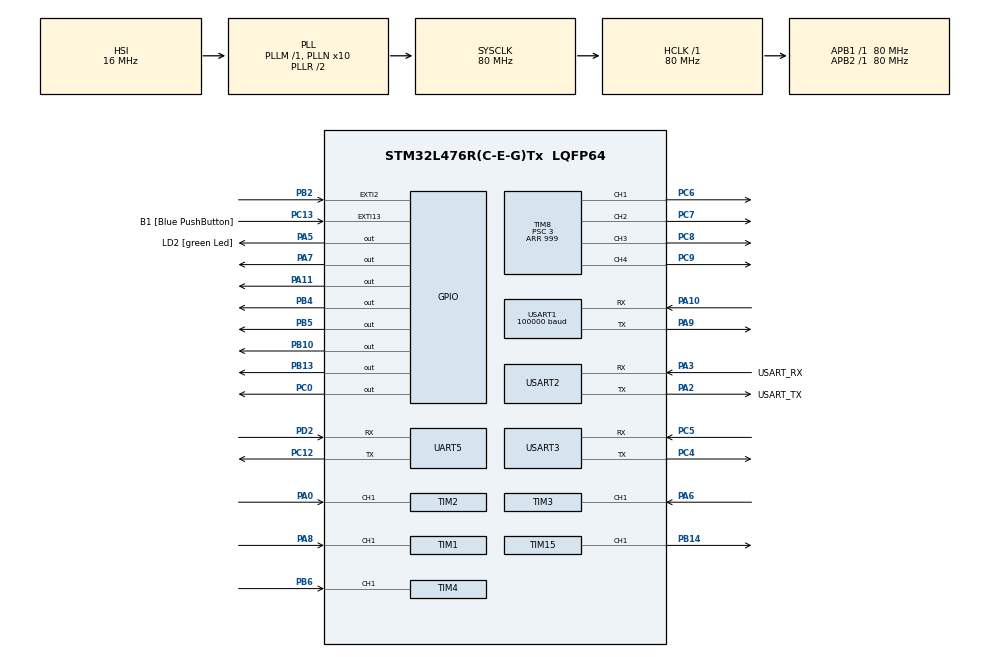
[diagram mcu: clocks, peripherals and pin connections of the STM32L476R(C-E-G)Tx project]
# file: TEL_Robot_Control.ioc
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Mcu.Family=STM32L4
Mcu.Name=STM32L476R(C-E-G)Tx
Mcu.Package=LQFP64
NVIC.EXTI15_10_IRQn=true\:0\:0\:false\:false\:true\:true\:true\:true
NVIC.EXTI2_IRQn=true\:0\:0\:false\:false\:true\:true\:true\:true
NVIC.PriorityGroup=NVIC_PRIORITYGROUP_4
NVIC.TIM1_BRK_TIM15_IRQn=true\:0\:0\:false\:false\:true\:true\:true\:true
NVIC.TIM1_CC_IRQn=true\:0\:0\:false\:false\:true\:true\:true\:true
NVIC.TIM1_TRG_COM_TIM17_IRQn=true\:0\:0\:false\:false\:true\:true\:true\:true
NVIC.TIM1_UP_TIM16_IRQn=true\:0\:0\:false\:false\:true\:true\:true\:true
NVIC.TIM2_IRQn=true\:0\:0\:false\:false\:true\:true\:true\:true
NVIC.TIM3_IRQn=true\:0\:0\:false\:false\:true\:true\:true\:true
NVIC.TIM4_IRQn=true\:0\:0\:false\:false\:true\:true\:true\:true
NVIC.TIM8_BRK_IRQn=true\:0\:0\:false\:false\:true\:true\:true\:true
NVIC.TIM8_CC_IRQn=true\:0\:0\:false\:false\:true\:true\:true\:true
NVIC.TIM8_TRG_COM_IRQn=true\:0\:0\:false\:false\:true\:true\:true\:true
NVIC.TIM8_UP_IRQn=true\:0\:0\:false\:false\:true\:true\:true\:true
NVIC.UART5_IRQn=true\:0\:0\:false\:false\:true\:true\:true\:true
NVIC.USART1_IRQn=true\:0\:0\:false\:false\:true\:true\:true\:true
NVIC.USART2_IRQn=true\:0\:0\:false\:false\:true\:true\:true\:true
NVIC.USART3_IRQn=true\:0\:0\:false\:false\:true\:true\:true\:true
PA0.Signal=S_TIM2_CH1
PA10.Mode=Asynchronous
PA10.Signal=USART1_RX
PA11.Signal=GPIO_Output
PA13\ (JTMS-SWDIO).GPIO_Label=TMS
PA13\ (JTMS-SWDIO).Mode=Serial_Wire
PA13\ (JTMS-SWDIO).Signal=SYS_JTMS-SWDIO
PA14\ (JTCK-SWCLK).GPIO_Label=TCK
PA14\ (JTCK-SWCLK).Mode=Serial_Wire
PA14\ (JTCK-SWCLK).Signal=SYS_JTCK-SWCLK
PA2.GPIO_Label=USART_TX
PA2.GPIO_Mode=GPIO_MODE_AF_PP
PA2.GPIO_PuPd=GPIO_NOPULL
PA2.GPIO_Speed=GPIO_SPEED_FREQ_VERY_HIGH
PA2.Mode=Asynchronous
PA2.Signal=USART2_TX
PA3.GPIO_Label=USART_RX
PA3.GPIO_Mode=GPIO_MODE_AF_PP
PA3.GPIO_PuPd=GPIO_NOPULL
PA3.GPIO_Speed=GPIO_SPEED_FREQ_VERY_HIGH
PA3.Mode=Asynchronous
PA3.Signal=USART2_RX
PA5.GPIO_Label=LD2 [green Led]
PA5.GPIO_ModeDefaultOutputPP=GPIO_MODE_OUTPUT_PP
PA5.GPIO_PuPd=GPIO_NOPULL
PA5.GPIO_Speed=GPIO_SPEED_FREQ_LOW
PA5.Signal=GPIO_Output
PA6.Signal=S_TIM3_CH1
PA7.Signal=GPIO_Output
PA8.Signal=S_TIM1_CH1
PA9.Mode=Asynchronous
PA9.Signal=USART1_TX
PB10.Signal=GPIO_Output
PB13.Signal=GPIO_Output
PB14.Signal=S_TIM15_CH1
PB2.GPIO_ModeDefaultEXTI=GPIO_MODE_IT_FALLING
PB2.GPIO_PuPd=GPIO_PULLUP
PB2.Signal=GPXTI2
PB3\ (JTDO-TRACESWO).GPIO_Label=SWO
PB3\ (JTDO-TRACESWO).Signal=SYS_JTDO-SWO
PB4\ (NJTRST).Signal=GPIO_Output
PB5.Signal=GPIO_Output
PB6.Signal=S_TIM4_CH1
PC0.Signal=GPIO_Output
PC12.Mode=Asynchronous
PC12.Signal=UART5_TX
PC13.GPIO_Label=B1 [Blue PushButton]
PC13.GPIO_ModeDefaultEXTI=GPIO_MODE_IT_FALLING
PC13.GPIO_PuPd=GPIO_NOPULL
PC13.Signal=GPXTI13
PC14-OSC32_IN\ (PC14).Mode=LSE-External-Oscillator
PC14-OSC32_IN\ (PC14).Signal=RCC_OSC32_IN
PC15-OSC32_OUT\ (PC15).Mode=LSE-External-Oscillator
PC15-OSC32_OUT\ (PC15).Signal=RCC_OSC32_OUT
PC4.Mode=Asynchronous
PC4.Signal=USART3_TX
PC5.Mode=Asynchronous
PC5.Signal=USART3_RX
PC6.Signal=S_TIM8_CH1
PC7.Signal=S_TIM8_CH2
PC8.Signal=S_TIM8_CH3
PC9.Signal=S_TIM8_CH4
PD2.Mode=Asynchronous
PD2.Signal=UART5_RX
PH0-OSC_IN\ (PH0).Mode=HSE-External-Oscillator
PH0-OSC_IN\ (PH0).Signal=RCC_OSC_IN
PH1-OSC_OUT\ (PH1).Mode=HSE-External-Oscillator
PH1-OSC_OUT\ (PH1).Signal=RCC_OSC_OUT
ProjectManager.HeapSize=0x200
ProjectManager.StackSize=0x400
ProjectManager.TargetToolchain=STM32CubeIDE
RCC.ADCFreq_Value=64000000
RCC.AHBFreq_Value=80000000
RCC.APB1Freq_Value=80000000
RCC.APB1TimFreq_Value=80000000
RCC.APB2Freq_Value=80000000
RCC.APB2TimFreq_Value=80000000
RCC.CortexFreq_Value=80000000
RCC.HCLKFreq_Value=80000000
RCC.HSE_VALUE=8000000
RCC.HSI_VALUE=16000000
RCC.MSI_VALUE=4000000
RCC.PLLN=10
RCC.PLLSourceVirtual=RCC_PLLSOURCE_HSI
RCC.PREFETCH_ENABLE=1
RCC.SYSCLKFreq_VALUE=80000000
RCC.SYSCLKSource=RCC_SYSCLKSOURCE_PLLCLK
RCC.USBFreq_Value=64000000
RCC.VCOOutputFreq_Value=160000000
SH.S_TIM15_CH1.0=TIM15_CH1,PWM Generation1 CH1
SH.S_TIM1_CH1.0=TIM1_CH1,PWM_Input_1
SH.S_TIM2_CH1.0=TIM2_CH1,PWM_Input_1
SH.S_TIM3_CH1.0=TIM3_CH1,PWM_Input_1
SH.S_TIM4_CH1.0=TIM4_CH1,PWM_Input_1
SH.S_TIM8_CH1.0=TIM8_CH1,PWM Generation1 CH1
SH.S_TIM8_CH2.0=TIM8_CH2,PWM Generation2 CH2
SH.S_TIM8_CH3.0=TIM8_CH3,PWM Generation3 CH3
SH.S_TIM8_CH4.0=TIM8_CH4,PWM Generation4 CH4
TIM1.Prescaler=79
TIM15.Channel-PWM\ Generation1\ CH1=TIM_CHANNEL_1
TIM15.Period=999
TIM15.Prescaler=79
TIM2.Period=65535
TIM2.Prescaler=79
TIM3.Prescaler=79
TIM4.Prescaler=79
TIM8.Channel-PWM\ Generation1\ CH1=TIM_CHANNEL_1
TIM8.Channel-PWM\ Generation2\ CH2=TIM_CHANNEL_2
TIM8.Channel-PWM\ Generation3\ CH3=TIM_CHANNEL_3
TIM8.Channel-PWM\ Generation4\ CH4=TIM_CHANNEL_4
TIM8.Period=999
TIM8.Prescaler=3
USART1.BaudRate=100000
USART1.Mode=MODE_RX
USART1.Parity=PARITY_EVEN
USART1.RxPinLevelInvertParam=ADVFEATURE_RXINV_DISABLE
USART1.StopBits=STOPBITS_2
USART1.VirtualMode-Asynchronous=VM_ASYNC
USART1.WordLength=WORDLENGTH_9B
USART2.VirtualMode-Asynchronous=VM_ASYNC
USART3.VirtualMode-Asynchronous=VM_ASYNC
VP_TIM15_VS_ClockSourceINT.Mode=Internal
VP_TIM1_VS_ClockSourceINT.Mode=Internal
VP_TIM2_VS_ClockSourceINT.Mode=Internal
VP_TIM3_VS_ClockSourceINT.Mode=Internal
VP_TIM4_VS_ClockSourceINT.Mode=Internal
VP_TIM8_VS_ClockSourceINT.Mode=Internal
board=NUCLEO-L476RG

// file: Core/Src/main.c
/* USER CODE BEGIN Header */
/**
  ******************************************************************************
  * @file           : main.c
  * @brief          : Main program body
  ******************************************************************************
  * @attention
  *
  * <h2><center>&copy; Copyright (c) 2021 STMicroelectronics.
  * All rights reserved.</center></h2>
  *
  * This software component is licensed by ST under BSD 3-Clause license,
  * the "License"; You may not use this file except in compliance with the
  * License. You may obtain a copy of the License at:
  *                        opensource.org/licenses/BSD-3-Clause
  *
  ******************************************************************************
  */
/* USER CODE END Header */
#include "main.h"

/* USER CODE BEGIN Includes */
#include <stdio.h>
#include <stdlib.h>
#include <inttypes.h>
/* USER CODE END Includes */

/* USER CODE BEGIN PD */
// Motor
#define USER_TIM_ICPSC_DIV TIM_ICPSC_DIV4
#define SQUARE_WAVE_DISTANCE 0.115
#define OverallFrequencyRef 250
#define OverallPWMDutyRef 350

#define Motor1DirGrp GPIOB
#define Motor1DirPin GPIO_PIN_4
#define Motor2DirGrp GPIOB
#define Motor2DirPin GPIO_PIN_10
#define Motor3DirGrp GPIOA
#define Motor3DirPin GPIO_PIN_7
#define Motor4DirGrp GPIOB
#define Motor4DirPin GPIO_PIN_5

// Servo
#define GRAB_OPEN 20
#define GRAB_CLOSE 60
#define CARRIAGE_OPEN 135
#define CARRIAGE_CLOSE 0
#define FUNNEL_OPEN -135
#define FUNNEL_CLOSE 0
#define DOOR_OPEN 120
#define DOOR_CLOSE 0
#define UART3_BufferSize 7

// Stepper
#define SQUARE_WAVES_IN_1MM 40

// Communication
#define BufferSize 6
#define UART1_BufferSize 25
#define buf_ UART1_rxBuffer
#define UART1_ChannelSize 16
/* USER CODE END PD */

TIM_HandleTypeDef htim1;
TIM_HandleTypeDef htim2;
TIM_HandleTypeDef htim3;
TIM_HandleTypeDef htim4;
TIM_HandleTypeDef htim8;
TIM_HandleTypeDef htim15;

UART_HandleTypeDef huart5;
UART_HandleTypeDef huart1;
UART_HandleTypeDef huart2;
UART_HandleTypeDef huart3;

/* USER CODE BEGIN PV */
// Motor
//int32_t motorState[4] = {-1, 1, -1, 1};
int PWM[4] = {0, 0, 0, 0};
// Stepper
int stepperCount = 0;
int stepperThreshold = (1 << 20);
int stepperDir = 0;
int currentStepperPosition = 0; // 0 - 6000 (0 - 5553, 74 - 1925)
// Servo
uint8_t UART3_rxBuffer[UART3_BufferSize] = {0};
int pingDone = 0;
int oldArm = 0;
int oldGrab = 0;
int oldCarriage = 0;
// Communication
uint8_t UART2_rxBuffer[BufferSize] = {0};
char commandFlag = 0;
int commandDone = 0;
int motorDone[4] = {0};
int failFlag = 0;
// SBUS
uint8_t UART1_rxBuffer[UART1_BufferSize] = {0};
uint8_t UART1_tmpBuffer[1] = {0};
int16_t ch_[UART1_ChannelSize] = {0};
uint8_t CH17_MASK_ = 0x01;
uint8_t CH18_MASK_ = 0x02;
uint8_t LOST_FRAME_MASK_ = 0x04;
uint8_t FAILSAFE_MASK_ = 0x08;
uint8_t ch17_ = 0;
uint8_t ch18_ = 0;
uint8_t lost_frame_ = 0;
uint8_t failsafe_ = 0;
/* USER CODE END PV */

void SystemClock_Config(void);
static void MX_GPIO_Init(void);
static void MX_USART2_UART_Init(void);
static void MX_TIM1_Init(void);
static void MX_TIM2_Init(void);
static void MX_TIM3_Init(void);
static void MX_TIM4_Init(void);
static void MX_TIM8_Init(void);
static void MX_TIM15_Init(void);
static void MX_USART1_UART_Init(void);
static void MX_USART3_UART_Init(void);
static void MX_UART5_Init(void);

/* USER CODE BEGIN 0 */
// Motor
void MotorStop(){
	PWM[0] = 0;
	PWM[1] = 0;
	PWM[2] = 0;
	PWM[3] = 0;
	__HAL_TIM_SetCompare(&htim8, TIM_CHANNEL_1, abs(PWM[0]));
	__HAL_TIM_SetCompare(&htim8, TIM_CHANNEL_2, abs(PWM[1]));
	__HAL_TIM_SetCompare(&htim8, TIM_CHANNEL_3, abs(PWM[2]));
	__HAL_TIM_SetCompare(&htim8, TIM_CHANNEL_4, abs(PWM[3]));
}

// Servo
void setAngle(uint8_t id, int16_t angle){
	uint8_t data[12] = {0x12, 0x4c, 0x08, 0x07, id, 0x00, 0x00, 0x20, 0x03, 0x00, 0x00, 0x00};
	angle = angle * 10;
	data[5] = (uint8_t)((angle << 8) >> 8);
	data[6] = (uint8_t)(angle >> 8);
	int16_t checksum = 0;
	for(int i = 0; i < 11; ++i)
		checksum += data[i];
	data[11] = (uint8_t)((checksum << 8) >> 8);
	HAL_UART_Transmit(&huart3, data, sizeof(data), HAL_MAX_DELAY);
//	pingDone = 0;
//	HAL_UART_Receive_IT(&huart3, UART3_rxBuffer, UART3_BufferSize);
}

// Communication
int _write (int fd, char *ptr, int len)
{
	HAL_UART_Transmit(&huart2, (uint8_t*) ptr, len, 0xFFFF);
	HAL_UART_Transmit(&huart5, (uint8_t*) ptr, len, 0xFFFF);
	return len;
}

//int _read (int fd, char *ptr, int len)
//{
//	*ptr = 0x00; // Flush the character buffer
//	HAL_UART_Receive(&huart2, (uint8_t*) ptr, 1, 0xFFFF);
//	return 1;
//}

void SBUS_Data(){
//	for(int i = 0; i < 25; ++i){
//		printf("%02X ", buf_[i]);
//	}
//	printf("\r\n");
	// main part
	if (buf_[0] != 0x0f) return;
    ch_[ 0] = (((int16_t)buf_[ 1] >> 0) | ((int16_t)buf_[ 2] << 8)) & 0x07FF;
    ch_[ 1] = (((int16_t)buf_[ 2] >> 3) | ((int16_t)buf_[ 3] << 5)) & 0x07FF;
    ch_[ 2] = (((int16_t)buf_[ 3] >> 6) | ((int16_t)buf_[ 4] << 2)  | ((int16_t)buf_[ 5] << 10)) & 0x07FF;
    ch_[ 3] = (((int16_t)buf_[ 5] >> 1) | ((int16_t)buf_[ 6] << 7)) & 0x07FF;
    ch_[ 4] = (((int16_t)buf_[ 6] >> 4) | ((int16_t)buf_[ 7] << 4)) & 0x07FF;
    ch_[ 5] = (((int16_t)buf_[ 7] >> 7) | ((int16_t)buf_[ 8] << 1)  | ((int16_t)buf_[ 9] <<  9)) & 0x07FF;
    ch_[ 6] = (((int16_t)buf_[ 9] >> 2) | ((int16_t)buf_[10] << 6)) & 0x07FF;
    ch_[ 7] = (((int16_t)buf_[10] >> 5) | ((int16_t)buf_[11] << 3)) & 0x07FF;
    ch_[ 8] = (((int16_t)buf_[12] >> 0) | ((int16_t)buf_[13] << 8)) & 0x07FF;
    ch_[ 9] = (((int16_t)buf_[13] >> 3) | ((int16_t)buf_[14] << 5)) & 0x07FF;
//    ch_[10] = (((int16_t)buf_[14] >> 6) | ((int16_t)buf_[15] << 2)  | ((int16_t)buf_[16] << 10)) & 0x07FF;
//    ch_[11] = (((int16_t)buf_[16] >> 1) | ((int16_t)buf_[17] << 7)) & 0x07FF;
//    ch_[12] = (((int16_t)buf_[17] >> 4) | ((int16_t)buf_[18] << 4)) & 0x07FF;
//    ch_[13] = (((int16_t)buf_[18] >> 7) | ((int16_t)buf_[19] << 1)  | ((int16_t)buf_[20] <<  9)) & 0x07FF;
//    ch_[14] = (((int16_t)buf_[20] >> 2) | ((int16_t)buf_[21] << 6)) & 0x07FF;
//    ch_[15] = (((int16_t)buf_[21] >> 5) | ((int16_t)buf_[22] << 3)) & 0x07FF;
//	ch17_ = buf_[23] & CH17_MASK_;
//	ch18_ = buf_[23] & CH18_MASK_;
	lost_frame_ = buf_[23] & LOST_FRAME_MASK_;
	failsafe_ = buf_[23] & FAILSAFE_MASK_;

	// right+, top+
	ch_[0] = (ch_[0] - 999) / 2;
	ch_[1] = (995 - ch_[1]) / 2;
	ch_[2] = (ch_[2] - 1000) / 2 + ch_[1]; // boost
	ch_[3] = (ch_[3] - 994) / 2;
	// ch_[4]
	ch_[5] = (1925 - ch_[5]) / 13;
	// ch_[6]
	// ch_[7]

//	for(int i = 0; i < 10; ++i){
//		printf("%d ", ch_[i]);
//	}
//	printf("\r\n");
}

void setMotor(){
	// front-back:  1,-1, 1,-1
	// left-right: -1,-1, 1, 1
	// lr-rotate:   1, 1, 1, 1
	PWM[0] = ch_[4] > 800 ? 0 :  ch_[2] - ch_[3] + ch_[0];
	PWM[1] = ch_[4] > 800 ? 0 : -ch_[2] - ch_[3] + ch_[0];
	PWM[2] = ch_[4] > 800 ? 0 :  ch_[2] + ch_[3] + ch_[0];
	PWM[3] = ch_[4] > 800 ? 0 : -ch_[2] + ch_[3] + ch_[0];
	HAL_GPIO_WritePin(Motor1DirGrp, Motor1DirPin, PWM[0] > 0 ? GPIO_PIN_SET : GPIO_PIN_RESET);
	HAL_GPIO_WritePin(Motor2DirGrp, Motor2DirPin, PWM[1] > 0 ? GPIO_PIN_SET : GPIO_PIN_RESET);
	HAL_GPIO_WritePin(Motor3DirGrp, Motor3DirPin, PWM[2] > 0 ? GPIO_PIN_SET : GPIO_PIN_RESET);
	HAL_GPIO_WritePin(Motor4DirGrp, Motor4DirPin, PWM[3] > 0 ? GPIO_PIN_SET : GPIO_PIN_RESET);
	__HAL_TIM_SetCompare(&htim8, TIM_CHANNEL_1, abs(PWM[0]));
	__HAL_TIM_SetCompare(&htim8, TIM_CHANNEL_2, abs(PWM[1]));
	__HAL_TIM_SetCompare(&htim8, TIM_CHANNEL_3, abs(PWM[2]));
	__HAL_TIM_SetCompare(&htim8, TIM_CHANNEL_4, abs(PWM[3]));

	// servo
	if (!oldCarriage && ch_[8] > 1000){
		setAngle(2, 135);
		oldCarriage = 1;
	}
	else if(oldCarriage && ch_[8] < 1000){
		setAngle(2, 0);
		oldCarriage = 0;
	}

	if (!oldArm && ch_[9] < 1000){
		setAngle(4, 35);
		HAL_Delay(1000);
		setAngle(5, 30);
		HAL_Delay(1000);
		oldArm = 1;
	}
	else if (oldArm && ch_[9] > 1000){
		setAngle(4, -90);
		HAL_Delay(1000);
		setAngle(5, 75);
		HAL_Delay(1000);
		oldArm = 0;
	}

	if (oldGrab && ch_[7] > 1000){
		setAngle(1, 0);
		oldGrab = 0;
	}
	else if(!oldGrab && ch_[7] < 1000){
		setAngle(1, 70);
		oldGrab = 1;
	}

//	if (!oldArm && ch_[9] < 1000){
//		setAngle(4, 30);
//		HAL_Delay(1000);
//		setAngle(1, 0);
//		HAL_Delay(1000);
//		setAngle(5, 0);
//		oldArm = 1;
//	}
//	else if (oldArm && ch_[9] > 1000){
//		setAngle(1, 70);
//		HAL_Delay(1000);
//		setAngle(4, -90);
//		HAL_Delay(1000);
//		setAngle(5, 75);
//		HAL_Delay(1000);
//		setAngle(1, 0);
//		oldArm = 0;
//	}

	// stepper
//	stepperThreshold = (ch_[5] - 74) * 3;
//	HAL_GPIO_WritePin(GPIOB, GPIO_PIN_13, stepperThreshold > currentStepperPosition ? GPIO_PIN_SET : GPIO_PIN_RESET);
//	stepperDir = stepperThreshold > currentStepperPosition ? 1 : -1;
//	if(abs(stepperThreshold - currentStepperPosition) > 5){
//		TIM15->CCR1 = 500;
//	}
//	else{
//		TIM15->CCR1 = 0;
//	}
}

void HAL_UART_RxCpltCallback(UART_HandleTypeDef *huart)
{
	if (huart->Instance == huart1.Instance){
		if (UART1_rxBuffer[0] != 0x0f){
			HAL_UART_Receive(&huart1, UART1_tmpBuffer, 1, 100);
		}
		HAL_UART_Receive_IT(&huart1, UART1_rxBuffer, UART1_BufferSize);
	}
	else if (huart->Instance == huart3.Instance){
		// 0x05 0x1C cmd n id success checksum
//		pingDone = 1;
	}
}

/* USER CODE END 0 */

int main(void)
{

  /* MCU Configuration--------------------------------------------------------*/

  /* Reset of all peripherals, Initializes the Flash interface and the Systick. */
  HAL_Init();

  /* Configure the system clock */
  SystemClock_Config();

  /* Initialize all configured peripherals */
  MX_GPIO_Init();
  MX_USART2_UART_Init();
  MX_TIM1_Init();
  MX_TIM2_Init();
  MX_TIM3_Init();
  MX_TIM4_Init();
  MX_TIM8_Init();
  MX_TIM15_Init();
  MX_USART1_UART_Init();
  MX_USART3_UART_Init();
  MX_UART5_Init();
  /* USER CODE BEGIN 2 */
  // Motor
  HAL_TIM_PWM_Start(&htim8,TIM_CHANNEL_1);
  HAL_TIM_PWM_Start(&htim8,TIM_CHANNEL_2);
  HAL_TIM_PWM_Start(&htim8,TIM_CHANNEL_3);
  HAL_TIM_PWM_Start(&htim8,TIM_CHANNEL_4);
  MotorStop();

  // Servo
//  servoPing();

  // Stepper
  HAL_TIM_PWM_Start(&htim15,TIM_CHANNEL_1);
  HAL_TIM_Base_Start_IT(&htim15);
  __HAL_TIM_SetCompare(&htim15, TIM_CHANNEL_1, 0);
  HAL_GPIO_WritePin(GPIOC, GPIO_PIN_0, GPIO_PIN_RESET);
  HAL_GPIO_WritePin(GPIOB, GPIO_PIN_13, GPIO_PIN_RESET);
//  if (HAL_GPIO_ReadPin(GPIOB, GPIO_PIN_2)){
//	  TIM15->CCR1 = 500;
//  }
//  else{
//	  HAL_GPIO_WritePin(LD2_GPIO_Port, LD2_Pin, GPIO_PIN_SET);
//  }
  HAL_GPIO_WritePin(LD2_GPIO_Port, LD2_Pin, GPIO_PIN_SET);
  HAL_GPIO_WritePin(GPIOA, GPIO_PIN_11, GPIO_PIN_SET);
  HAL_GPIO_WritePin(GPIOC, GPIO_PIN_3, GPIO_PIN_RESET);
  // Communication
  HAL_UART_Receive_IT(&huart1, UART1_rxBuffer, UART1_BufferSize);
  /* USER CODE END 2 */

  /* Infinite loop */
  while (1)
  {

    /* USER CODE BEGIN 3 */
	SBUS_Data();
	setMotor();
  }
  /* USER CODE END 3 */
}

void SystemClock_Config(void)
{
  RCC_OscInitTypeDef RCC_OscInitStruct = {0};
  RCC_ClkInitTypeDef RCC_ClkInitStruct = {0};

  /** Configure the main internal regulator output voltage
  */
  if (HAL_PWREx_ControlVoltageScaling(PWR_REGULATOR_VOLTAGE_SCALE1) != HAL_OK)
  {
    Error_Handler();
  }
  /** Initializes the RCC Oscillators according to the specified parameters
  * in the RCC_OscInitTypeDef structure.
  */
  RCC_OscInitStruct.OscillatorType = RCC_OSCILLATORTYPE_HSI;
  RCC_OscInitStruct.HSIState = RCC_HSI_ON;
  RCC_OscInitStruct.HSICalibrationValue = RCC_HSICALIBRATION_DEFAULT;
  RCC_OscInitStruct.PLL.PLLState = RCC_PLL_ON;
  RCC_OscInitStruct.PLL.PLLSource = RCC_PLLSOURCE_HSI;
  RCC_OscInitStruct.PLL.PLLM = 1;
  RCC_OscInitStruct.PLL.PLLN = 10;
  RCC_OscInitStruct.PLL.PLLP = RCC_PLLP_DIV7;
  RCC_OscInitStruct.PLL.PLLQ = RCC_PLLQ_DIV2;
  RCC_OscInitStruct.PLL.PLLR = RCC_PLLR_DIV2;
  if (HAL_RCC_OscConfig(&RCC_OscInitStruct) != HAL_OK)
  {
    Error_Handler();
  }
  /** Initializes the CPU, AHB and APB buses clocks
  */
  RCC_ClkInitStruct.ClockType = RCC_CLOCKTYPE_HCLK|RCC_CLOCKTYPE_SYSCLK
                              |RCC_CLOCKTYPE_PCLK1|RCC_CLOCKTYPE_PCLK2;
  RCC_ClkInitStruct.SYSCLKSource = RCC_SYSCLKSOURCE_PLLCLK;
  RCC_ClkInitStruct.AHBCLKDivider = RCC_SYSCLK_DIV1;
  RCC_ClkInitStruct.APB1CLKDivider = RCC_HCLK_DIV1;
  RCC_ClkInitStruct.APB2CLKDivider = RCC_HCLK_DIV1;

  if (HAL_RCC_ClockConfig(&RCC_ClkInitStruct, FLASH_LATENCY_4) != HAL_OK)
  {
    Error_Handler();
  }
}

static void MX_TIM1_Init(void)
{

  TIM_ClockConfigTypeDef sClockSourceConfig = {0};
  TIM_SlaveConfigTypeDef sSlaveConfig = {0};
  TIM_IC_InitTypeDef sConfigIC = {0};
  TIM_MasterConfigTypeDef sMasterConfig = {0};

  htim1.Instance = TIM1;
  htim1.Init.Prescaler = 79;
  htim1.Init.CounterMode = TIM_COUNTERMODE_UP;
  htim1.Init.Period = 65535;
  htim1.Init.ClockDivision = TIM_CLOCKDIVISION_DIV1;
  htim1.Init.RepetitionCounter = 0;
  htim1.Init.AutoReloadPreload = TIM_AUTORELOAD_PRELOAD_DISABLE;
  if (HAL_TIM_Base_Init(&htim1) != HAL_OK)
  {
    Error_Handler();
  }
  sClockSourceConfig.ClockSource = TIM_CLOCKSOURCE_INTERNAL;
  if (HAL_TIM_ConfigClockSource(&htim1, &sClockSourceConfig) != HAL_OK)
  {
    Error_Handler();
  }
  if (HAL_TIM_IC_Init(&htim1) != HAL_OK)
  {
    Error_Handler();
  }
  sSlaveConfig.SlaveMode = TIM_SLAVEMODE_RESET;
  sSlaveConfig.InputTrigger = TIM_TS_TI1FP1;
  sSlaveConfig.TriggerPolarity = TIM_INPUTCHANNELPOLARITY_RISING;
  sSlaveConfig.TriggerPrescaler = TIM_ICPSC_DIV1;
  sSlaveConfig.TriggerFilter = 0;
  if (HAL_TIM_SlaveConfigSynchro(&htim1, &sSlaveConfig) != HAL_OK)
  {
    Error_Handler();
  }
  sConfigIC.ICPolarity = TIM_INPUTCHANNELPOLARITY_RISING;
  sConfigIC.ICSelection = TIM_ICSELECTION_DIRECTTI;
  sConfigIC.ICPrescaler = TIM_ICPSC_DIV1;
  sConfigIC.ICFilter = 0;
  if (HAL_TIM_IC_ConfigChannel(&htim1, &sConfigIC, TIM_CHANNEL_1) != HAL_OK)
  {
    Error_Handler();
  }
  sConfigIC.ICPolarity = TIM_INPUTCHANNELPOLARITY_FALLING;
  sConfigIC.ICSelection = TIM_ICSELECTION_INDIRECTTI;
  if (HAL_TIM_IC_ConfigChannel(&htim1, &sConfigIC, TIM_CHANNEL_2) != HAL_OK)
  {
    Error_Handler();
  }
  sMasterConfig.MasterOutputTrigger = TIM_TRGO_RESET;
  sMasterConfig.MasterOutputTrigger2 = TIM_TRGO2_RESET;
  sMasterConfig.MasterSlaveMode = TIM_MASTERSLAVEMODE_DISABLE;
  if (HAL_TIMEx_MasterConfigSynchronization(&htim1, &sMasterConfig) != HAL_OK)
  {
    Error_Handler();
  }
  /* USER CODE BEGIN TIM1_Init 2 */
  sConfigIC.ICPrescaler = USER_TIM_ICPSC_DIV;
  /* USER CODE END TIM1_Init 2 */

}

static void MX_TIM2_Init(void)
{

  TIM_ClockConfigTypeDef sClockSourceConfig = {0};
  TIM_SlaveConfigTypeDef sSlaveConfig = {0};
  TIM_IC_InitTypeDef sConfigIC = {0};
  TIM_MasterConfigTypeDef sMasterConfig = {0};

  htim2.Instance = TIM2;
  htim2.Init.Prescaler = 79;
  htim2.Init.CounterMode = TIM_COUNTERMODE_UP;
  htim2.Init.Period = 65535;
  htim2.Init.ClockDivision = TIM_CLOCKDIVISION_DIV1;
  htim2.Init.AutoReloadPreload = TIM_AUTORELOAD_PRELOAD_DISABLE;
  if (HAL_TIM_Base_Init(&htim2) != HAL_OK)
  {
    Error_Handler();
  }
  sClockSourceConfig.ClockSource = TIM_CLOCKSOURCE_INTERNAL;
  if (HAL_TIM_ConfigClockSource(&htim2, &sClockSourceConfig) != HAL_OK)
  {
    Error_Handler();
  }
  if (HAL_TIM_IC_Init(&htim2) != HAL_OK)
  {
    Error_Handler();
  }
  sSlaveConfig.SlaveMode = TIM_SLAVEMODE_RESET;
  sSlaveConfig.InputTrigger = TIM_TS_TI1FP1;
  sSlaveConfig.TriggerPolarity = TIM_INPUTCHANNELPOLARITY_RISING;
  sSlaveConfig.TriggerPrescaler = TIM_ICPSC_DIV1;
  sSlaveConfig.TriggerFilter = 0;
  if (HAL_TIM_SlaveConfigSynchro(&htim2, &sSlaveConfig) != HAL_OK)
  {
    Error_Handler();
  }
  sConfigIC.ICPolarity = TIM_INPUTCHANNELPOLARITY_RISING;
  sConfigIC.ICSelection = TIM_ICSELECTION_DIRECTTI;
  sConfigIC.ICPrescaler = TIM_ICPSC_DIV1;
  sConfigIC.ICFilter = 0;
  if (HAL_TIM_IC_ConfigChannel(&htim2, &sConfigIC, TIM_CHANNEL_1) != HAL_OK)
  {
    Error_Handler();
  }
  sConfigIC.ICPolarity = TIM_INPUTCHANNELPOLARITY_FALLING;
  sConfigIC.ICSelection = TIM_ICSELECTION_INDIRECTTI;
  if (HAL_TIM_IC_ConfigChannel(&htim2, &sConfigIC, TIM_CHANNEL_2) != HAL_OK)
  {
    Error_Handler();
  }
  sMasterConfig.MasterOutputTrigger = TIM_TRGO_RESET;
  sMasterConfig.MasterSlaveMode = TIM_MASTERSLAVEMODE_DISABLE;
  if (HAL_TIMEx_MasterConfigSynchronization(&htim2, &sMasterConfig) != HAL_OK)
  {
    Error_Handler();
  }
  /* USER CODE BEGIN TIM2_Init 2 */
  sConfigIC.ICPrescaler = USER_TIM_ICPSC_DIV;
  /* USER CODE END TIM2_Init 2 */

}

static void MX_TIM3_Init(void)
{

  TIM_ClockConfigTypeDef sClockSourceConfig = {0};
  TIM_SlaveConfigTypeDef sSlaveConfig = {0};
  TIM_IC_InitTypeDef sConfigIC = {0};
  TIM_MasterConfigTypeDef sMasterConfig = {0};

  htim3.Instance = TIM3;
  htim3.Init.Prescaler = 79;
  htim3.Init.CounterMode = TIM_COUNTERMODE_UP;
  htim3.Init.Period = 65535;
  htim3.Init.ClockDivision = TIM_CLOCKDIVISION_DIV1;
  htim3.Init.AutoReloadPreload = TIM_AUTORELOAD_PRELOAD_DISABLE;
  if (HAL_TIM_Base_Init(&htim3) != HAL_OK)
  {
    Error_Handler();
  }
  sClockSourceConfig.ClockSource = TIM_CLOCKSOURCE_INTERNAL;
  if (HAL_TIM_ConfigClockSource(&htim3, &sClockSourceConfig) != HAL_OK)
  {
    Error_Handler();
  }
  if (HAL_TIM_IC_Init(&htim3) != HAL_OK)
  {
    Error_Handler();
  }
  sSlaveConfig.SlaveMode = TIM_SLAVEMODE_RESET;
  sSlaveConfig.InputTrigger = TIM_TS_TI1FP1;
  sSlaveConfig.TriggerPolarity = TIM_INPUTCHANNELPOLARITY_RISING;
  sSlaveConfig.TriggerPrescaler = TIM_ICPSC_DIV1;
  sSlaveConfig.TriggerFilter = 0;
  if (HAL_TIM_SlaveConfigSynchro(&htim3, &sSlaveConfig) != HAL_OK)
  {
    Error_Handler();
  }
  sConfigIC.ICPolarity = TIM_INPUTCHANNELPOLARITY_RISING;
  sConfigIC.ICSelection = TIM_ICSELECTION_DIRECTTI;
  sConfigIC.ICPrescaler = TIM_ICPSC_DIV1;
  sConfigIC.ICFilter = 0;
  if (HAL_TIM_IC_ConfigChannel(&htim3, &sConfigIC, TIM_CHANNEL_1) != HAL_OK)
  {
    Error_Handler();
  }
  sConfigIC.ICPolarity = TIM_INPUTCHANNELPOLARITY_FALLING;
  sConfigIC.ICSelection = TIM_ICSELECTION_INDIRECTTI;
  if (HAL_TIM_IC_ConfigChannel(&htim3, &sConfigIC, TIM_CHANNEL_2) != HAL_OK)
  {
    Error_Handler();
  }
  sMasterConfig.MasterOutputTrigger = TIM_TRGO_RESET;
  sMasterConfig.MasterSlaveMode = TIM_MASTERSLAVEMODE_DISABLE;
  if (HAL_TIMEx_MasterConfigSynchronization(&htim3, &sMasterConfig) != HAL_OK)
  {
    Error_Handler();
  }
  /* USER CODE BEGIN TIM3_Init 2 */
  sConfigIC.ICPrescaler = USER_TIM_ICPSC_DIV;
  /* USER CODE END TIM3_Init 2 */

}

static void MX_TIM4_Init(void)
{

  TIM_ClockConfigTypeDef sClockSourceConfig = {0};
  TIM_SlaveConfigTypeDef sSlaveConfig = {0};
  TIM_IC_InitTypeDef sConfigIC = {0};
  TIM_MasterConfigTypeDef sMasterConfig = {0};

  htim4.Instance = TIM4;
  htim4.Init.Prescaler = 79;
  htim4.Init.CounterMode = TIM_COUNTERMODE_UP;
  htim4.Init.Period = 65535;
  htim4.Init.ClockDivision = TIM_CLOCKDIVISION_DIV1;
  htim4.Init.AutoReloadPreload = TIM_AUTORELOAD_PRELOAD_DISABLE;
  if (HAL_TIM_Base_Init(&htim4) != HAL_OK)
  {
    Error_Handler();
  }
  sClockSourceConfig.ClockSource = TIM_CLOCKSOURCE_INTERNAL;
  if (HAL_TIM_ConfigClockSource(&htim4, &sClockSourceConfig) != HAL_OK)
  {
    Error_Handler();
  }
  if (HAL_TIM_IC_Init(&htim4) != HAL_OK)
  {
    Error_Handler();
  }
  sSlaveConfig.SlaveMode = TIM_SLAVEMODE_RESET;
  sSlaveConfig.InputTrigger = TIM_TS_TI1FP1;
  sSlaveConfig.TriggerPolarity = TIM_INPUTCHANNELPOLARITY_RISING;
  sSlaveConfig.TriggerPrescaler = TIM_ICPSC_DIV1;
  sSlaveConfig.TriggerFilter = 0;
  if (HAL_TIM_SlaveConfigSynchro(&htim4, &sSlaveConfig) != HAL_OK)
  {
    Error_Handler();
  }
  sConfigIC.ICPolarity = TIM_INPUTCHANNELPOLARITY_RISING;
  sConfigIC.ICSelection = TIM_ICSELECTION_DIRECTTI;
  sConfigIC.ICPrescaler = TIM_ICPSC_DIV1;
  sConfigIC.ICFilter = 0;
  if (HAL_TIM_IC_ConfigChannel(&htim4, &sConfigIC, TIM_CHANNEL_1) != HAL_OK)
  {
    Error_Handler();
  }
  sConfigIC.ICPolarity = TIM_INPUTCHANNELPOLARITY_FALLING;
  sConfigIC.ICSelection = TIM_ICSELECTION_INDIRECTTI;
  if (HAL_TIM_IC_ConfigChannel(&htim4, &sConfigIC, TIM_CHANNEL_2) != HAL_OK)
  {
    Error_Handler();
  }
  sMasterConfig.MasterOutputTrigger = TIM_TRGO_RESET;
  sMasterConfig.MasterSlaveMode = TIM_MASTERSLAVEMODE_DISABLE;
  if (HAL_TIMEx_MasterConfigSynchronization(&htim4, &sMasterConfig) != HAL_OK)
  {
    Error_Handler();
  }
  /* USER CODE BEGIN TIM4_Init 2 */
  sConfigIC.ICPrescaler = USER_TIM_ICPSC_DIV;
  /* USER CODE END TIM4_Init 2 */

}

static void MX_TIM8_Init(void)
{

  TIM_ClockConfigTypeDef sClockSourceConfig = {0};
  TIM_MasterConfigTypeDef sMasterConfig = {0};
  TIM_OC_InitTypeDef sConfigOC = {0};
  TIM_BreakDeadTimeConfigTypeDef sBreakDeadTimeConfig = {0};

  htim8.Instance = TIM8;
  htim8.Init.Prescaler = 3;
  htim8.Init.CounterMode = TIM_COUNTERMODE_UP;
  htim8.Init.Period = 999;
  htim8.Init.ClockDivision = TIM_CLOCKDIVISION_DIV1;
  htim8.Init.RepetitionCounter = 0;
  htim8.Init.AutoReloadPreload = TIM_AUTORELOAD_PRELOAD_DISABLE;
  if (HAL_TIM_Base_Init(&htim8) != HAL_OK)
  {
    Error_Handler();
  }
  sClockSourceConfig.ClockSource = TIM_CLOCKSOURCE_INTERNAL;
  if (HAL_TIM_ConfigClockSource(&htim8, &sClockSourceConfig) != HAL_OK)
  {
    Error_Handler();
  }
  if (HAL_TIM_PWM_Init(&htim8) != HAL_OK)
  {
    Error_Handler();
  }
  sMasterConfig.MasterOutputTrigger = TIM_TRGO_RESET;
  sMasterConfig.MasterOutputTrigger2 = TIM_TRGO2_RESET;
  sMasterConfig.MasterSlaveMode = TIM_MASTERSLAVEMODE_DISABLE;
  if (HAL_TIMEx_MasterConfigSynchronization(&htim8, &sMasterConfig) != HAL_OK)
  {
    Error_Handler();
  }
  sConfigOC.OCMode = TIM_OCMODE_PWM1;
  sConfigOC.Pulse = 0;
  sConfigOC.OCPolarity = TIM_OCPOLARITY_HIGH;
  sConfigOC.OCNPolarity = TIM_OCNPOLARITY_HIGH;
  sConfigOC.OCFastMode = TIM_OCFAST_DISABLE;
  sConfigOC.OCIdleState = TIM_OCIDLESTATE_RESET;
  sConfigOC.OCNIdleState = TIM_OCNIDLESTATE_RESET;
  if (HAL_TIM_PWM_ConfigChannel(&htim8, &sConfigOC, TIM_CHANNEL_1) != HAL_OK)
  {
    Error_Handler();
  }
  if (HAL_TIM_PWM_ConfigChannel(&htim8, &sConfigOC, TIM_CHANNEL_2) != HAL_OK)
  {
    Error_Handler();
  }
  if (HAL_TIM_PWM_ConfigChannel(&htim8, &sConfigOC, TIM_CHANNEL_3) != HAL_OK)
  {
    Error_Handler();
  }
  if (HAL_TIM_PWM_ConfigChannel(&htim8, &sConfigOC, TIM_CHANNEL_4) != HAL_OK)
  {
    Error_Handler();
  }
  sBreakDeadTimeConfig.OffStateRunMode = TIM_OSSR_DISABLE;
  sBreakDeadTimeConfig.OffStateIDLEMode = TIM_OSSI_DISABLE;
  sBreakDeadTimeConfig.LockLevel = TIM_LOCKLEVEL_OFF;
  sBreakDeadTimeConfig.DeadTime = 0;
  sBreakDeadTimeConfig.BreakState = TIM_BREAK_DISABLE;
  sBreakDeadTimeConfig.BreakPolarity = TIM_BREAKPOLARITY_HIGH;
  sBreakDeadTimeConfig.BreakFilter = 0;
  sBreakDeadTimeConfig.Break2State = TIM_BREAK2_DISABLE;
  sBreakDeadTimeConfig.Break2Polarity = TIM_BREAK2POLARITY_HIGH;
  sBreakDeadTimeConfig.Break2Filter = 0;
  sBreakDeadTimeConfig.AutomaticOutput = TIM_AUTOMATICOUTPUT_DISABLE;
  if (HAL_TIMEx_ConfigBreakDeadTime(&htim8, &sBreakDeadTimeConfig) != HAL_OK)
  {
    Error_Handler();
  }
  HAL_TIM_MspPostInit(&htim8);

}

static void MX_TIM15_Init(void)
{

  TIM_ClockConfigTypeDef sClockSourceConfig = {0};
  TIM_MasterConfigTypeDef sMasterConfig = {0};
  TIM_OC_InitTypeDef sConfigOC = {0};
  TIM_BreakDeadTimeConfigTypeDef sBreakDeadTimeConfig = {0};

  htim15.Instance = TIM15;
  htim15.Init.Prescaler = 79;
  htim15.Init.CounterMode = TIM_COUNTERMODE_UP;
  htim15.Init.Period = 999;
  htim15.Init.ClockDivision = TIM_CLOCKDIVISION_DIV1;
  htim15.Init.RepetitionCounter = 0;
  htim15.Init.AutoReloadPreload = TIM_AUTORELOAD_PRELOAD_DISABLE;
  if (HAL_TIM_Base_Init(&htim15) != HAL_OK)
  {
    Error_Handler();
  }
  sClockSourceConfig.ClockSource = TIM_CLOCKSOURCE_INTERNAL;
  if (HAL_TIM_ConfigClockSource(&htim15, &sClockSourceConfig) != HAL_OK)
  {
    Error_Handler();
  }
  if (HAL_TIM_PWM_Init(&htim15) != HAL_OK)
  {
    Error_Handler();
  }
  sMasterConfig.MasterOutputTrigger = TIM_TRGO_RESET;
  sMasterConfig.MasterSlaveMode = TIM_MASTERSLAVEMODE_DISABLE;
  if (HAL_TIMEx_MasterConfigSynchronization(&htim15, &sMasterConfig) != HAL_OK)
  {
    Error_Handler();
  }
  sConfigOC.OCMode = TIM_OCMODE_PWM1;
  sConfigOC.Pulse = 0;
  sConfigOC.OCPolarity = TIM_OCPOLARITY_HIGH;
  sConfigOC.OCNPolarity = TIM_OCNPOLARITY_HIGH;
  sConfigOC.OCFastMode = TIM_OCFAST_DISABLE;
  sConfigOC.OCIdleState = TIM_OCIDLESTATE_RESET;
  sConfigOC.OCNIdleState = TIM_OCNIDLESTATE_RESET;
  if (HAL_TIM_PWM_ConfigChannel(&htim15, &sConfigOC, TIM_CHANNEL_1) != HAL_OK)
  {
    Error_Handler();
  }
  sBreakDeadTimeConfig.OffStateRunMode = TIM_OSSR_DISABLE;
  sBreakDeadTimeConfig.OffStateIDLEMode = TIM_OSSI_DISABLE;
  sBreakDeadTimeConfig.LockLevel = TIM_LOCKLEVEL_OFF;
  sBreakDeadTimeConfig.DeadTime = 0;
  sBreakDeadTimeConfig.BreakState = TIM_BREAK_DISABLE;
  sBreakDeadTimeConfig.BreakPolarity = TIM_BREAKPOLARITY_HIGH;
  sBreakDeadTimeConfig.AutomaticOutput = TIM_AUTOMATICOUTPUT_DISABLE;
  if (HAL_TIMEx_ConfigBreakDeadTime(&htim15, &sBreakDeadTimeConfig) != HAL_OK)
  {
    Error_Handler();
  }
  HAL_TIM_MspPostInit(&htim15);

}

static void MX_UART5_Init(void)
{

  huart5.Instance = UART5;
  huart5.Init.BaudRate = 115200;
  huart5.Init.WordLength = UART_WORDLENGTH_8B;
  huart5.Init.StopBits = UART_STOPBITS_1;
  huart5.Init.Parity = UART_PARITY_NONE;
  huart5.Init.Mode = UART_MODE_TX_RX;
  huart5.Init.HwFlowCtl = UART_HWCONTROL_NONE;
  huart5.Init.OverSampling = UART_OVERSAMPLING_16;
  huart5.Init.OneBitSampling = UART_ONE_BIT_SAMPLE_DISABLE;
  huart5.AdvancedInit.AdvFeatureInit = UART_ADVFEATURE_NO_INIT;
  if (HAL_UART_Init(&huart5) != HAL_OK)
  {
    Error_Handler();
  }

}

static void MX_USART1_UART_Init(void)
{

  huart1.Instance = USART1;
  huart1.Init.BaudRate = 100000;
  huart1.Init.WordLength = UART_WORDLENGTH_9B;
  huart1.Init.StopBits = UART_STOPBITS_2;
  huart1.Init.Parity = UART_PARITY_EVEN;
  huart1.Init.Mode = UART_MODE_RX;
  huart1.Init.HwFlowCtl = UART_HWCONTROL_NONE;
  huart1.Init.OverSampling = UART_OVERSAMPLING_16;
  huart1.Init.OneBitSampling = UART_ONE_BIT_SAMPLE_DISABLE;
  huart1.AdvancedInit.AdvFeatureInit = UART_ADVFEATURE_NO_INIT;
  if (HAL_UART_Init(&huart1) != HAL_OK)
  {
    Error_Handler();
  }

}

static void MX_USART2_UART_Init(void)
{

  huart2.Instance = USART2;
  huart2.Init.BaudRate = 115200;
  huart2.Init.WordLength = UART_WORDLENGTH_8B;
  huart2.Init.StopBits = UART_STOPBITS_1;
  huart2.Init.Parity = UART_PARITY_NONE;
  huart2.Init.Mode = UART_MODE_TX_RX;
  huart2.Init.HwFlowCtl = UART_HWCONTROL_NONE;
  huart2.Init.OverSampling = UART_OVERSAMPLING_16;
  huart2.Init.OneBitSampling = UART_ONE_BIT_SAMPLE_DISABLE;
  huart2.AdvancedInit.AdvFeatureInit = UART_ADVFEATURE_NO_INIT;
  if (HAL_UART_Init(&huart2) != HAL_OK)
  {
    Error_Handler();
  }

}

static void MX_USART3_UART_Init(void)
{

  huart3.Instance = USART3;
  huart3.Init.BaudRate = 115200;
  huart3.Init.WordLength = UART_WORDLENGTH_8B;
  huart3.Init.StopBits = UART_STOPBITS_1;
  huart3.Init.Parity = UART_PARITY_NONE;
  huart3.Init.Mode = UART_MODE_TX_RX;
  huart3.Init.HwFlowCtl = UART_HWCONTROL_NONE;
  huart3.Init.OverSampling = UART_OVERSAMPLING_16;
  huart3.Init.OneBitSampling = UART_ONE_BIT_SAMPLE_DISABLE;
  huart3.AdvancedInit.AdvFeatureInit = UART_ADVFEATURE_NO_INIT;
  if (HAL_UART_Init(&huart3) != HAL_OK)
  {
    Error_Handler();
  }

}

static void MX_GPIO_Init(void)
{
  GPIO_InitTypeDef GPIO_InitStruct = {0};

  /* GPIO Ports Clock Enable */
  __HAL_RCC_GPIOC_CLK_ENABLE();
  __HAL_RCC_GPIOH_CLK_ENABLE();
  __HAL_RCC_GPIOA_CLK_ENABLE();
  __HAL_RCC_GPIOB_CLK_ENABLE();
  __HAL_RCC_GPIOD_CLK_ENABLE();

  /*Configure GPIO pin Output Level */
  HAL_GPIO_WritePin(GPIOC, GPIO_PIN_0, GPIO_PIN_RESET);

  /*Configure GPIO pin Output Level */
  HAL_GPIO_WritePin(GPIOA, LD2_Pin|GPIO_PIN_7|GPIO_PIN_11, GPIO_PIN_RESET);

  /*Configure GPIO pin Output Level */
  HAL_GPIO_WritePin(GPIOB, GPIO_PIN_10|GPIO_PIN_13|GPIO_PIN_4|GPIO_PIN_5, GPIO_PIN_RESET);

  /*Configure GPIO pin : B1_Pin */
  GPIO_InitStruct.Pin = B1_Pin;
  GPIO_InitStruct.Mode = GPIO_MODE_IT_FALLING;
  GPIO_InitStruct.Pull = GPIO_NOPULL;
  HAL_GPIO_Init(B1_GPIO_Port, &GPIO_InitStruct);

  /*Configure GPIO pin : PC0 */
  GPIO_InitStruct.Pin = GPIO_PIN_0;
  GPIO_InitStruct.Mode = GPIO_MODE_OUTPUT_PP;
  GPIO_InitStruct.Pull = GPIO_NOPULL;
  GPIO_InitStruct.Speed = GPIO_SPEED_FREQ_LOW;
  HAL_GPIO_Init(GPIOC, &GPIO_InitStruct);

  /*Configure GPIO pins : PC1 PC2 PC3 PC10
                           PC11 */
  GPIO_InitStruct.Pin = GPIO_PIN_1|GPIO_PIN_2|GPIO_PIN_3|GPIO_PIN_10
                          |GPIO_PIN_11;
  GPIO_InitStruct.Mode = GPIO_MODE_ANALOG;
  GPIO_InitStruct.Pull = GPIO_NOPULL;
  HAL_GPIO_Init(GPIOC, &GPIO_InitStruct);

  /*Configure GPIO pins : PA1 PA4 PA12 PA15 */
  GPIO_InitStruct.Pin = GPIO_PIN_1|GPIO_PIN_4|GPIO_PIN_12|GPIO_PIN_15;
  GPIO_InitStruct.Mode = GPIO_MODE_ANALOG;
  GPIO_InitStruct.Pull = GPIO_NOPULL;
  HAL_GPIO_Init(GPIOA, &GPIO_InitStruct);

  /*Configure GPIO pins : LD2_Pin PA7 PA11 */
  GPIO_InitStruct.Pin = LD2_Pin|GPIO_PIN_7|GPIO_PIN_11;
  GPIO_InitStruct.Mode = GPIO_MODE_OUTPUT_PP;
  GPIO_InitStruct.Pull = GPIO_NOPULL;
  GPIO_InitStruct.Speed = GPIO_SPEED_FREQ_LOW;
  HAL_GPIO_Init(GPIOA, &GPIO_InitStruct);

  /*Configure GPIO pins : PB0 PB1 PB11 PB12
                           PB15 PB7 PB8 PB9 */
  GPIO_InitStruct.Pin = GPIO_PIN_0|GPIO_PIN_1|GPIO_PIN_11|GPIO_PIN_12
                          |GPIO_PIN_15|GPIO_PIN_7|GPIO_PIN_8|GPIO_PIN_9;
  GPIO_InitStruct.Mode = GPIO_MODE_ANALOG;
  GPIO_InitStruct.Pull = GPIO_NOPULL;
  HAL_GPIO_Init(GPIOB, &GPIO_InitStruct);

  /*Configure GPIO pin : PB2 */
  GPIO_InitStruct.Pin = GPIO_PIN_2;
  GPIO_InitStruct.Mode = GPIO_MODE_IT_FALLING;
  GPIO_InitStruct.Pull = GPIO_PULLUP;
  HAL_GPIO_Init(GPIOB, &GPIO_InitStruct);

  /*Configure GPIO pins : PB10 PB13 PB4 PB5 */
  GPIO_InitStruct.Pin = GPIO_PIN_10|GPIO_PIN_13|GPIO_PIN_4|GPIO_PIN_5;
  GPIO_InitStruct.Mode = GPIO_MODE_OUTPUT_PP;
  GPIO_InitStruct.Pull = GPIO_NOPULL;
  GPIO_InitStruct.Speed = GPIO_SPEED_FREQ_LOW;
  HAL_GPIO_Init(GPIOB, &GPIO_InitStruct);

  /* EXTI interrupt init*/
  HAL_NVIC_SetPriority(EXTI2_IRQn, 0, 0);
  HAL_NVIC_EnableIRQ(EXTI2_IRQn);

  HAL_NVIC_SetPriority(EXTI15_10_IRQn, 0, 0);
  HAL_NVIC_EnableIRQ(EXTI15_10_IRQn);

}

/* USER CODE BEGIN 4 */
void HAL_GPIO_EXTI_Callback(uint16_t GPIO_Pin){
	if (GPIO_Pin == GPIO_PIN_2){
		TIM15->CCR1 = 0;
		currentStepperPosition = 0;
		HAL_GPIO_WritePin(LD2_GPIO_Port, LD2_Pin, GPIO_PIN_SET);
	}
	else if (GPIO_Pin == B1_Pin){
	}
}

void HAL_TIM_PeriodElapsedCallback(TIM_HandleTypeDef* htim){
//	if (htim->Instance == htim15.Instance){
//		if (TIM15->CCR1){
//			currentStepperPosition += stepperDir;
//		}
//	}
}
/* USER CODE END 4 */

void Error_Handler(void)
{
  __disable_irq();
  while (1)
  {
  }
}

/************************ (C) COPYRIGHT STMicroelectronics *****END OF FILE****/
